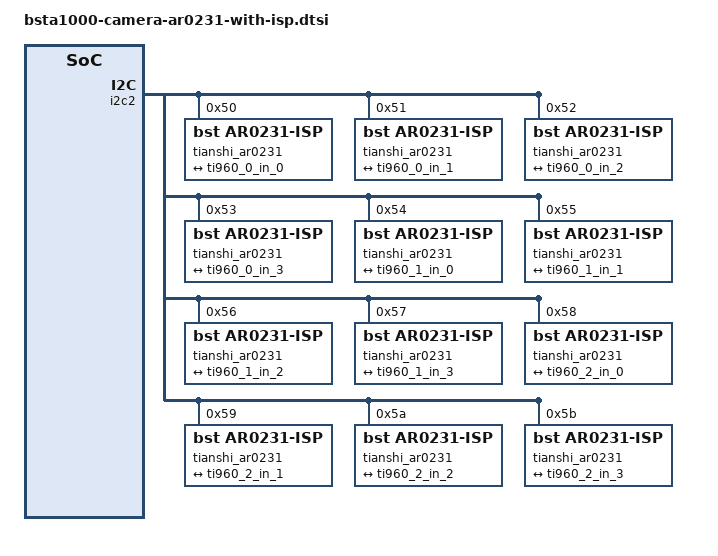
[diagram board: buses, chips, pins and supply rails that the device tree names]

&i2c2 {
    tianshi_ar0231@50 {
        compatible = "bst,ar0231-isp";
        reg = <0x50>;
        ser-alias-id = <0x40>;
        sensor-alias-id = <0x50>;
        data-type = <0x1e>; //0x1e-yuv/0x2c-raw12/0x2b-raw10
        fv-polarity-low = <0>;  // 1, low polarity, 0, high polarity
        fpd3-mode = "raw10";
        serializer = "ti933";

        size = <1920 1080>;
        dvp-dummy = <0xaaa0>; //[15:x]=dummydata [x:0]=0

        view0-fmt = <1>;
        view0-size = <1920 1080>;

        pdns-mode = <0>;
        pdns-input-view = <0>;
        hblank = <0>;

        port {
            tianshi_ar0231_0_out: endpoint@0 {
                remote-endpoint = <&ti960_0_in_0>;
            };
        };
    };

    tianshi_ar0231@51 {
        compatible = "bst,ar0231-isp";
        reg = <0x51>;
        ser-alias-id = <0x41>;
        sensor-alias-id = <0x51>;
        data-type = <0x1e>;
        fv-polarity-low = <0>;
        fpd3-mode = "raw10";
        serializer = "ti933";

        size = <1920 1080>;
        dvp-dummy = <0xaaa0>; //[15:x]=dummydata [x:0]=0

        view0-fmt = <1>;
        view0-size = <1920 1080>;

        pdns-mode = <0>;
        pdns-input-view = <0>;
        hblank = <0>;

        port {
            tianshi_ar0231_1_out: endpoint@0 {
                remote-endpoint = <&ti960_0_in_1>;
            };
        };
    };

    tianshi_ar0231@52 {
        compatible = "bst,ar0231-isp";
        reg = <0x52>;
        ser-alias-id = <0x42>;
        sensor-alias-id = <0x52>;
        data-type = <0x1e>;
        fv-polarity-low = <0>;
        fpd3-mode = "raw10";
        serializer = "ti933";

        size = <1920 1080>;
        dvp-dummy = <0xaaa0>; //[15:x]=dummydata [x:0]=0

        view0-fmt = <1>;
        view0-size = <1920 1080>;

        pdns-mode = <0>;
        pdns-input-view = <0>;
        hblank = <0>;

        port {
            tianshi_ar0231_2_out: endpoint@0 {
                remote-endpoint = <&ti960_0_in_2>;
            };
        };
    };

    tianshi_ar0231@53 {
        compatible = "bst,ar0231-isp";
        reg = <0x53>;
        ser-alias-id = <0x43>;
        sensor-alias-id = <0x53>;
        data-type = <0x1e>;
        fv-polarity-low = <0>;
        fpd3-mode = "raw10";
        serializer = "ti933";

        size = <1920 1080>;
        dvp-dummy = <0xaaa0>; //[15:x]=dummydata [x:0]=0

        view0-fmt = <1>;
        view0-size = <1920 1080>;

        pdns-mode = <0>;
        pdns-input-view = <0>;
        hblank = <0>;

        port {
            tianshi_ar0231_3_out: endpoint@0 {
                remote-endpoint = <&ti960_0_in_3>;
            };
        };
    };

    tianshi_ar0231@54 {
        compatible = "bst,ar0231-isp";
        reg = <0x54>;
        ser-alias-id = <0x44>;
        sensor-alias-id = <0x54>;
        data-type = <0x1e>;
        fv-polarity-low = <0>;
        fpd3-mode = "raw10";
        serializer = "ti933";

        size = <1920 1080>;
        dvp-dummy = <0xaaa0>; //[15:x]=dummydata [x:0]=0

        view0-fmt = <1>;
        view0-size = <1920 1080>;

        pdns-mode = <0>;
        pdns-input-view = <0>;
        hblank = <0>;

        port {
            tianshi_ar0231_4_out: endpoint@0 {
                remote-endpoint = <&ti960_1_in_0>;
            };
        };
    };

    tianshi_ar0231@55 {
        compatible = "bst,ar0231-isp";
        reg = <0x55>;
        ser-alias-id = <0x45>;
        sensor-alias-id = <0x55>;
        data-type = <0x1e>;
        fv-polarity-low = <0>;
        fpd3-mode = "raw10";
        serializer = "ti933";

        size = <1920 1080>;
        dvp-dummy = <0xaaa0>; //[15:x]=dummydata [x:0]=0

        view0-fmt = <1>;
        view0-size = <1920 1080>;

        pdns-mode = <0>;
        pdns-input-view = <0>;
        hblank = <0>;

        port {
            tianshi_ar0231_5_out: endpoint@0 {
                remote-endpoint = <&ti960_1_in_1>;
            };
        };
    };

    tianshi_ar0231@56 {
        compatible = "bst,ar0231-isp";
        reg = <0x56>;
        ser-alias-id = <0x46>;
        sensor-alias-id = <0x56>;
        data-type = <0x1e>;
        fv-polarity-low = <0>;
        fpd3-mode = "raw10";
        serializer = "ti933";

        size = <1920 1080>;
        dvp-dummy = <0xaaa0>; //[15:x]=dummydata [x:0]=0

        view0-fmt = <1>;
        view0-size = <1920 1080>;

        pdns-mode = <0>;
        pdns-input-view = <0>;
        hblank = <0>;

        port {
            tianshi_ar0231_6_out: endpoint@0 {
                remote-endpoint = <&ti960_1_in_2>;
            };
        };
    };

    tianshi_ar0231@57 {
        compatible = "bst,ar0231-isp";
        reg = <0x57>;
        ser-alias-id = <0x47>;
        sensor-alias-id = <0x57>;
        data-type = <0x1e>;
        fv-polarity-low = <0>;
        fpd3-mode = "raw10";
        serializer = "ti933";

        size = <1920 1080>;
        dvp-dummy = <0xaaa0>; //[15:x]=dummydata [x:0]=0

        view0-fmt = <1>;
        view0-size = <1920 1080>;

        pdns-mode = <0>;
        pdns-input-view = <0>;
        hblank = <0>;

        port {
            tianshi_ar0231_7_out: endpoint@0 {
                remote-endpoint = <&ti960_1_in_3>;
            };
        };
    };

    tianshi_ar0231@58 {
        compatible = "bst,ar0231-isp";
        reg = <0x58>;
        ser-alias-id = <0x48>;
        sensor-alias-id = <0x58>;
        data-type = <0x1e>;
        fv-polarity-low = <0>;
        fpd3-mode = "raw10";
        serializer = "ti933";

        size = <1920 1080>;
        dvp-dummy = <0xaaa0>; //[15:x]=dummydata [x:0]=0

        view0-fmt = <1>;
        view0-size = <1920 1080>;

        pdns-mode = <0>;
        pdns-input-view = <0>;
        hblank = <0>;

        port {
            tianshi_ar0231_8_out: endpoint@0 {
                remote-endpoint = <&ti960_2_in_0>;
            };
        };
    };

    tianshi_ar0231@59 {
        compatible = "bst,ar0231-isp";
        reg = <0x59>;
        ser-alias-id = <0x49>;
        sensor-alias-id = <0x59>;
        data-type = <0x1e>;
        fv-polarity-low = <0>;
        fpd3-mode = "raw10";
        serializer = "ti933";

        size = <1920 1080>;
        dvp-dummy = <0xaaa0>; //[15:x]=dummydata [x:0]=0

        view0-fmt = <1>;
        view0-size = <1920 1080>;

        pdns-mode = <0>;
        pdns-input-view = <0>;
        hblank = <0>;

        port {
            tianshi_ar0231_9_out: endpoint@0 {
                remote-endpoint = <&ti960_2_in_1>;
            };
        };
    };

    tianshi_ar0231@5a {
        compatible = "bst,ar0231-isp";
        reg = <0x5a>;
        ser-alias-id = <0x4a>;
        sensor-alias-id = <0x5a>;
        data-type = <0x1e>;
        fv-polarity-low = <0>; // 1, low polarity, 0, high polarity
        fpd3-mode = "raw10";
        serializer = "ti933";

        size = <1920 1080>;
        dvp-dummy = <0xaaa0>; //[15:x]=dummydata [x:0]=0

        view0-fmt = <1>;
        view0-size = <1920 1080>;

        pdns-mode = <0>;
        pdns-input-view = <0>;
        hblank = <0>;

        port {
            tianshi_ar0231_10_out: endpoint@0 {
                remote-endpoint = <&ti960_2_in_2>;
            };
        };
    };

    tianshi_ar0231@5b {
        compatible = "bst,ar0231-isp";
        reg = <0x5b>;
        ser-alias-id = <0x4b>;
        sensor-alias-id = <0x5b>;
        data-type = <0x1e>;
        fv-polarity-low = <0>; // 1, low polarity, 0, high polarity
        fpd3-mode = "raw10";
        serializer = "ti933";

        size = <1920 1080>;
        dvp-dummy = <0xaaa0>; //[15:x]=dummydata [x:0]=0

        view0-fmt = <1>;
        view0-size = <1920 1080>;

        pdns-mode = <0>;
        pdns-input-view = <0>;
        hblank = <0>;

        port {
            tianshi_ar0231_11_out: endpoint@0 {
                remote-endpoint = <&ti960_2_in_3>;
            };
        };
    };
};

